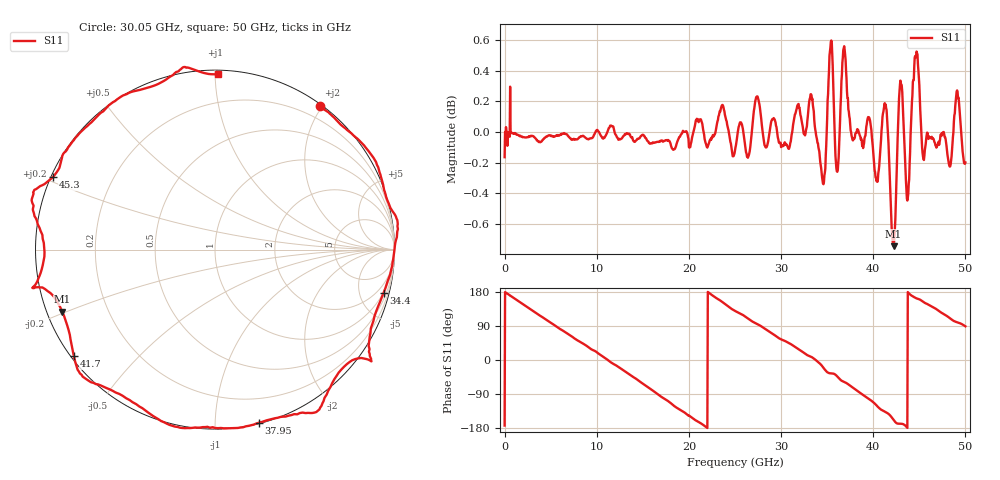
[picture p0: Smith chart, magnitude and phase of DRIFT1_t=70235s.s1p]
!Created with skrf (http://scikit-rf.org).
# Hz S RI R 50.0
!freq ReS11 ImS11
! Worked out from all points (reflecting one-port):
!   1001 points, 300 kHz to 50 GHz, reference 50 ohm
!   lowest |S11| = -0.7 dB at 42.2 GHz (marker M1), VSWR 23.37, Z = 2.22 - j9.75 ohm
!   phase of S11 starts at -173 deg and turns -818 deg over the sweep
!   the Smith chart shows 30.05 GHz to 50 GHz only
!   S11 on the Smith chart (normalised r, x): 30.05 GHz: 0.03, +1.97; 34.4 GHz: 0.98, -7.86; 37.95 GHz: 0.01, -1.29; 41.7 GHz: 0.01, -0.33; 45.3 GHz: 0.01, +0.21; 50 GHz: 0.02, +1.02
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300000  -0.9741 -0.1194
1.450291e9  -0.9125 0.4039
3.25028e9  -0.5931 0.8002
6.250262e9  0.1988 0.9786
9.500243e9  0.8877 0.4509
1.250022e10  0.9305 -0.3517
1.580021e10  0.2423 -0.9613
1.73502e10  -0.2114 -0.9707
1.875019e10  -0.5985 -0.7924
2.165017e10  -0.9907 -0.1212
2.345016e10  -0.9303 0.4118
2.500015e10  -0.6283 0.7605
2.745014e10  -0.0844 1.024
3.005012e10  0.5825 0.7993
3.125011e10  0.7812 0.6277
3.31501e10  1.012 0.1726
3.440009e10  0.9396 -0.2392
3.520009e10  0.8627 -0.5929
3.750008e10  0.3798 -0.9308
3.795007e10  0.2449 -0.9644
3.960006e10  -0.2379 -0.9816
4.170005e10  -0.7869 -0.5915
4.220005e10  -0.8504 -0.3456
4.290004e10  -1.014 -0.2141
4.375004e10  -0.9518 0.0112
4.530003e10  -0.9018 0.4056
4.765001e10  -0.513 0.8585
5e10  0.0191 0.9773
